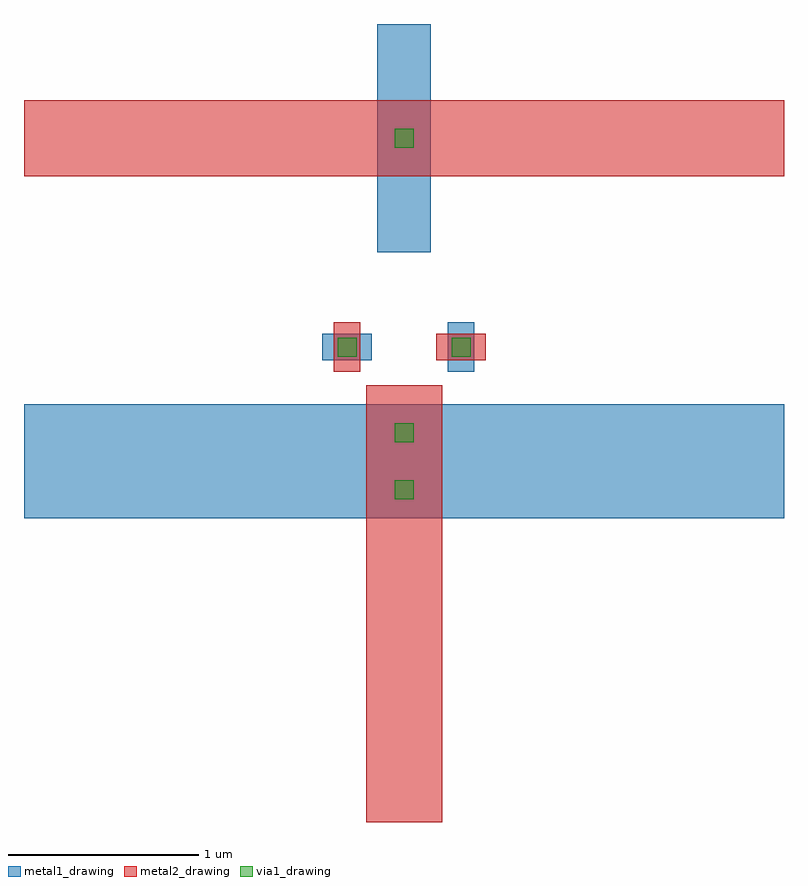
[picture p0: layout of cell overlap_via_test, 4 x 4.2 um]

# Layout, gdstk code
import gdstk
lib = gdstk.Library(unit=1e-6, precision=1e-09)
def R(c, l, rs):  # rectangles x0, y0, x1, y1
    for r in rs: c.add(gdstk.rectangle(r[:2], r[2:], *l))
metal1_drawing = (8, 0)
via1_drawing = (9, 0)
metal2_drawing = (10, 0)

overlap_via_test = lib.new_cell('overlap_via_test')
R(overlap_via_test, metal1_drawing, [(-2,-0.9,2,-0.3), (-0.2,-0.9,0.2,-0.3), (0.23,-0.13,0.37,0.13), (-0.43,-0.07,-0.17,0.07), (-0.14,0.5,0.14,1.7), (-0.14,0.9,0.14,1.3)])
R(overlap_via_test, via1_drawing, [(-0.05,-0.8,0.05,-0.7), (-0.05,-0.5,0.05,-0.4), (-0.35,-0.05,-0.25,0.05), (0.25,-0.05,0.35,0.05), (-0.05,1.05,0.05,1.15)])
R(overlap_via_test, metal2_drawing, [(-0.2,-2.5,0.2,-0.2), (-0.2,-0.9,0.2,-0.3), (-0.37,-0.13,-0.23,0.13), (0.17,-0.07,0.43,0.07), (-2,0.9,2,1.3), (-0.14,0.9,0.14,1.3)])

lib.write_gds('overlap_via_test.gds')
